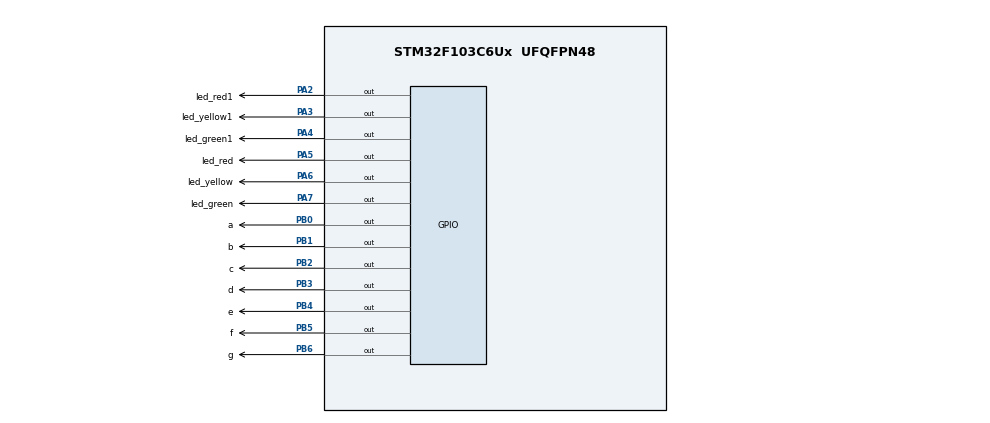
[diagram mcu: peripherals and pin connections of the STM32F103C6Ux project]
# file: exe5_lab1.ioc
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Mcu.Family=STM32F1
Mcu.Name=STM32F103C6Ux
Mcu.Package=UFQFPN48
NVIC.PriorityGroup=NVIC_PRIORITYGROUP_4
PA2.GPIO_Label=led_red1
PA2.Signal=GPIO_Output
PA3.GPIO_Label=led_yellow1
PA3.Signal=GPIO_Output
PA4.GPIO_Label=led_green1
PA4.Signal=GPIO_Output
PA5.GPIO_Label=led_red
PA5.Signal=GPIO_Output
PA6.GPIO_Label=led_yellow
PA6.Signal=GPIO_Output
PA7.GPIO_Label=led_green
PA7.Signal=GPIO_Output
PB0.GPIO_Label=a
PB0.Signal=GPIO_Output
PB1.GPIO_Label=b
PB1.Signal=GPIO_Output
PB2.GPIO_Label=c
PB2.Signal=GPIO_Output
PB3.GPIO_Label=d
PB3.Signal=GPIO_Output
PB4.GPIO_Label=e
PB4.Signal=GPIO_Output
PB5.GPIO_Label=f
PB5.Signal=GPIO_Output
PB6.GPIO_Label=g
PB6.Signal=GPIO_Output
ProjectManager.HeapSize=0x200
ProjectManager.StackSize=0x400
ProjectManager.TargetToolchain=STM32CubeIDE
RCC.APB1Freq_Value=8000000
RCC.APB2Freq_Value=8000000
VP_SYS_VS_ND.Mode=No_Debug
board=custom

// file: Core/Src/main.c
/* USER CODE BEGIN Header */
/**
  ******************************************************************************
  * @file           : main.c
  * @brief          : Main program body
  ******************************************************************************
  * @attention
  *
  * <h2><center>&copy; Copyright (c) 2022 STMicroelectronics.
  * All rights reserved.</center></h2>
  *
  * This software component is licensed by ST under BSD 3-Clause license,
  * the "License"; You may not use this file except in compliance with the
  * License. You may obtain a copy of the License at:
  *                        opensource.org/licenses/BSD-3-Clause
  *
  ******************************************************************************
  */
/* USER CODE END Header */
#include "main.h"

void SystemClock_Config(void);
static void MX_GPIO_Init(void);

void display7SEG(int num){
	  if(num == 0){
		  HAL_GPIO_WritePin(a_GPIO_Port, a_Pin, RESET);
		  HAL_GPIO_WritePin(b_GPIO_Port, b_Pin, RESET);
		  HAL_GPIO_WritePin(c_GPIO_Port, c_Pin, RESET);
		  HAL_GPIO_WritePin(d_GPIO_Port, d_Pin, RESET);
		  HAL_GPIO_WritePin(e_GPIO_Port, e_Pin, RESET);
		  HAL_GPIO_WritePin(f_GPIO_Port, f_Pin, RESET);
		  HAL_GPIO_WritePin(g_GPIO_Port, g_Pin, SET);
	  }
	  if(num == 1){
		  HAL_GPIO_WritePin(a_GPIO_Port, a_Pin, SET);
		  HAL_GPIO_WritePin(b_GPIO_Port, b_Pin, RESET);
		  HAL_GPIO_WritePin(c_GPIO_Port, c_Pin, RESET);
		  HAL_GPIO_WritePin(d_GPIO_Port, d_Pin, SET);
		  HAL_GPIO_WritePin(e_GPIO_Port, e_Pin, SET);
		  HAL_GPIO_WritePin(f_GPIO_Port, f_Pin, SET);
		  HAL_GPIO_WritePin(g_GPIO_Port, g_Pin, SET);
	  }
	  if(num == 2){
		  HAL_GPIO_WritePin(a_GPIO_Port, a_Pin, RESET);
		  HAL_GPIO_WritePin(b_GPIO_Port, b_Pin, RESET);
		  HAL_GPIO_WritePin(c_GPIO_Port, c_Pin, SET);
		  HAL_GPIO_WritePin(d_GPIO_Port, d_Pin, RESET);
		  HAL_GPIO_WritePin(e_GPIO_Port, e_Pin, RESET);
		  HAL_GPIO_WritePin(f_GPIO_Port, f_Pin, SET);
		  HAL_GPIO_WritePin(g_GPIO_Port, g_Pin, RESET);
	  }
	  if(num == 3){
		  HAL_GPIO_WritePin(a_GPIO_Port, a_Pin, RESET);
		  HAL_GPIO_WritePin(b_GPIO_Port, b_Pin, RESET);
		  HAL_GPIO_WritePin(c_GPIO_Port, c_Pin, RESET);
		  HAL_GPIO_WritePin(d_GPIO_Port, d_Pin, RESET);
		  HAL_GPIO_WritePin(e_GPIO_Port, e_Pin, SET);
		  HAL_GPIO_WritePin(f_GPIO_Port, f_Pin, SET);
		  HAL_GPIO_WritePin(g_GPIO_Port, g_Pin, RESET);
	  }
	  if(num == 4){
		  HAL_GPIO_WritePin(a_GPIO_Port, a_Pin, SET);
		  HAL_GPIO_WritePin(b_GPIO_Port, b_Pin, RESET);
		  HAL_GPIO_WritePin(c_GPIO_Port, c_Pin, RESET);
		  HAL_GPIO_WritePin(d_GPIO_Port, d_Pin, SET);
		  HAL_GPIO_WritePin(e_GPIO_Port, e_Pin, SET);
		  HAL_GPIO_WritePin(f_GPIO_Port, f_Pin, RESET);
		  HAL_GPIO_WritePin(g_GPIO_Port, g_Pin, RESET);
	  }
	  if(num == 5){
		  HAL_GPIO_WritePin(a_GPIO_Port, a_Pin, RESET);
		  HAL_GPIO_WritePin(b_GPIO_Port, b_Pin, SET);
		  HAL_GPIO_WritePin(c_GPIO_Port, c_Pin, RESET);
		  HAL_GPIO_WritePin(d_GPIO_Port, d_Pin, RESET);
		  HAL_GPIO_WritePin(e_GPIO_Port, e_Pin, SET);
		  HAL_GPIO_WritePin(f_GPIO_Port, f_Pin, RESET);
		  HAL_GPIO_WritePin(g_GPIO_Port, g_Pin, RESET);
	  }
	  if(num == 6){
		  HAL_GPIO_WritePin(a_GPIO_Port, a_Pin, RESET);
		  HAL_GPIO_WritePin(b_GPIO_Port, b_Pin, SET);
		  HAL_GPIO_WritePin(c_GPIO_Port, c_Pin, RESET);
		  HAL_GPIO_WritePin(d_GPIO_Port, d_Pin, RESET);
		  HAL_GPIO_WritePin(e_GPIO_Port, e_Pin, RESET);
		  HAL_GPIO_WritePin(f_GPIO_Port, f_Pin, RESET);
		  HAL_GPIO_WritePin(g_GPIO_Port, g_Pin, RESET);
	  }
	  if(num == 7){
		  HAL_GPIO_WritePin(a_GPIO_Port, a_Pin, RESET);
		  HAL_GPIO_WritePin(b_GPIO_Port, b_Pin, RESET);
		  HAL_GPIO_WritePin(c_GPIO_Port, c_Pin, RESET);
		  HAL_GPIO_WritePin(d_GPIO_Port, d_Pin, SET);
		  HAL_GPIO_WritePin(e_GPIO_Port, e_Pin, SET);
		  HAL_GPIO_WritePin(f_GPIO_Port, f_Pin, SET);
		  HAL_GPIO_WritePin(g_GPIO_Port, g_Pin, SET);
	  }
	  if(num == 8){
		  HAL_GPIO_WritePin(a_GPIO_Port, a_Pin, RESET);
		  HAL_GPIO_WritePin(b_GPIO_Port, b_Pin, RESET);
		  HAL_GPIO_WritePin(c_GPIO_Port, c_Pin, RESET);
		  HAL_GPIO_WritePin(d_GPIO_Port, d_Pin, RESET);
		  HAL_GPIO_WritePin(e_GPIO_Port, e_Pin, RESET);
		  HAL_GPIO_WritePin(f_GPIO_Port, f_Pin, RESET);
		  HAL_GPIO_WritePin(g_GPIO_Port, g_Pin, RESET);
	  }
	  if(num == 9){
		  HAL_GPIO_WritePin(a_GPIO_Port, a_Pin, RESET);
		  HAL_GPIO_WritePin(b_GPIO_Port, b_Pin, RESET);
		  HAL_GPIO_WritePin(c_GPIO_Port, c_Pin, RESET);
		  HAL_GPIO_WritePin(d_GPIO_Port, d_Pin, RESET);
		  HAL_GPIO_WritePin(e_GPIO_Port, e_Pin, SET);
		  HAL_GPIO_WritePin(f_GPIO_Port, f_Pin, RESET);
		  HAL_GPIO_WritePin(g_GPIO_Port, g_Pin, RESET);
	  }
};
int main(void)
{

  /* MCU Configuration--------------------------------------------------------*/

  /* Reset of all peripherals, Initializes the Flash interface and the Systick. */
  HAL_Init();

  /* Configure the system clock */
  SystemClock_Config();

  /* Initialize all configured peripherals */
  MX_GPIO_Init();

  /* Infinite loop */
  /* USER CODE BEGIN WHILE */

  int count = 9;
  while (1)
  {
	  if(count <= -1 || count == 9){
		  count = 9;
		  HAL_GPIO_WritePin(led_red_GPIO_Port, led_red_Pin, RESET);
		  HAL_GPIO_WritePin(led_yellow_GPIO_Port, led_yellow_Pin, SET);
		  HAL_GPIO_WritePin(led_green_GPIO_Port, led_green_Pin, SET);
		  HAL_GPIO_WritePin(led_red1_GPIO_Port, led_red1_Pin, SET);
		  HAL_GPIO_WritePin(led_yellow1_GPIO_Port, led_yellow1_Pin, SET);
		  HAL_GPIO_WritePin(led_green1_GPIO_Port, led_green1_Pin, RESET);
	  }
	  if(count == 6){
		  HAL_GPIO_TogglePin(led_green1_GPIO_Port, led_green1_Pin);
		  HAL_GPIO_TogglePin(led_yellow1_GPIO_Port, led_yellow1_Pin);
	  }
	  if(count == 4){
		  HAL_GPIO_TogglePin(led_red_GPIO_Port, led_red_Pin);
		  HAL_GPIO_TogglePin(led_green_GPIO_Port, led_green_Pin);
		  HAL_GPIO_TogglePin(led_yellow1_GPIO_Port, led_yellow1_Pin);
		  HAL_GPIO_TogglePin(led_red1_GPIO_Port, led_red1_Pin);
	  }
	  if(count == 1){
		  HAL_GPIO_TogglePin(led_green_GPIO_Port, led_green_Pin);
		  HAL_GPIO_TogglePin(led_yellow_GPIO_Port, led_yellow_Pin);
	  }
	  display7SEG(count--);

	  HAL_Delay(1000);
    /* USER CODE END WHILE */

  }
}

void SystemClock_Config(void)
{
  RCC_OscInitTypeDef RCC_OscInitStruct = {0};
  RCC_ClkInitTypeDef RCC_ClkInitStruct = {0};

  /** Initializes the RCC Oscillators according to the specified parameters
  * in the RCC_OscInitTypeDef structure.
  */
  RCC_OscInitStruct.OscillatorType = RCC_OSCILLATORTYPE_HSI;
  RCC_OscInitStruct.HSIState = RCC_HSI_ON;
  RCC_OscInitStruct.HSICalibrationValue = RCC_HSICALIBRATION_DEFAULT;
  RCC_OscInitStruct.PLL.PLLState = RCC_PLL_NONE;
  if (HAL_RCC_OscConfig(&RCC_OscInitStruct) != HAL_OK)
  {
    Error_Handler();
  }

  /** Initializes the CPU, AHB and APB buses clocks
  */
  RCC_ClkInitStruct.ClockType = RCC_CLOCKTYPE_HCLK|RCC_CLOCKTYPE_SYSCLK
                              |RCC_CLOCKTYPE_PCLK1|RCC_CLOCKTYPE_PCLK2;
  RCC_ClkInitStruct.SYSCLKSource = RCC_SYSCLKSOURCE_HSI;
  RCC_ClkInitStruct.AHBCLKDivider = RCC_SYSCLK_DIV1;
  RCC_ClkInitStruct.APB1CLKDivider = RCC_HCLK_DIV1;
  RCC_ClkInitStruct.APB2CLKDivider = RCC_HCLK_DIV1;

  if (HAL_RCC_ClockConfig(&RCC_ClkInitStruct, FLASH_LATENCY_0) != HAL_OK)
  {
    Error_Handler();
  }
}

static void MX_GPIO_Init(void)
{
  GPIO_InitTypeDef GPIO_InitStruct = {0};

  /* GPIO Ports Clock Enable */
  __HAL_RCC_GPIOA_CLK_ENABLE();
  __HAL_RCC_GPIOB_CLK_ENABLE();

  /*Configure GPIO pin Output Level */
  HAL_GPIO_WritePin(GPIOA, led_red1_Pin|led_yellow1_Pin|led_green1_Pin|led_red_Pin
                          |led_yellow_Pin|led_green_Pin, GPIO_PIN_RESET);

  /*Configure GPIO pin Output Level */
  HAL_GPIO_WritePin(GPIOB, a_Pin|b_Pin|c_Pin|d_Pin
                          |e_Pin|f_Pin|g_Pin, GPIO_PIN_RESET);

  /*Configure GPIO pins : led_red1_Pin led_yellow1_Pin led_green1_Pin led_red_Pin
                           led_yellow_Pin led_green_Pin */
  GPIO_InitStruct.Pin = led_red1_Pin|led_yellow1_Pin|led_green1_Pin|led_red_Pin
                          |led_yellow_Pin|led_green_Pin;
  GPIO_InitStruct.Mode = GPIO_MODE_OUTPUT_PP;
  GPIO_InitStruct.Pull = GPIO_NOPULL;
  GPIO_InitStruct.Speed = GPIO_SPEED_FREQ_LOW;
  HAL_GPIO_Init(GPIOA, &GPIO_InitStruct);

  /*Configure GPIO pins : a_Pin b_Pin c_Pin d_Pin
                           e_Pin f_Pin g_Pin */
  GPIO_InitStruct.Pin = a_Pin|b_Pin|c_Pin|d_Pin
                          |e_Pin|f_Pin|g_Pin;
  GPIO_InitStruct.Mode = GPIO_MODE_OUTPUT_PP;
  GPIO_InitStruct.Pull = GPIO_NOPULL;
  GPIO_InitStruct.Speed = GPIO_SPEED_FREQ_LOW;
  HAL_GPIO_Init(GPIOB, &GPIO_InitStruct);

}

void Error_Handler(void)
{
  __disable_irq();
  while (1)
  {
  }
}
